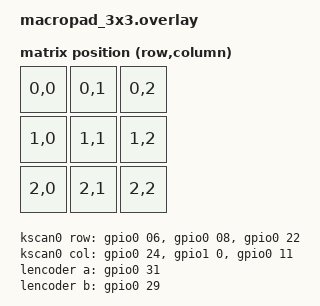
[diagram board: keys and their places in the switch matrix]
#include <dt-bindings/zmk/matrix_transform.h>

/ {
    chosen {
        zmk,kscan = &kscan0;
        zmk,physical-layout = &physical_layout0;
        zephyr,display = &oled_128x64;
    };

    kscan0: kscan0 {
        compatible = "zmk,kscan-gpio-matrix";
        diode-direction = "col2row";
        label = "default_kscan";
        wakeup-source;

        col-gpios = <
            &gpio0 24 GPIO_ACTIVE_HIGH  /* P0.24 (D5) */
            &gpio1 0  GPIO_ACTIVE_HIGH  /* P1.00 (D6) */
            &gpio0 11 GPIO_ACTIVE_HIGH  /* P0.11 (D7) */
        >;

        row-gpios = <
            &gpio0 06 (GPIO_ACTIVE_HIGH | GPIO_PULL_DOWN)  /* P0.17 (D2) */
            &gpio0 08 (GPIO_ACTIVE_HIGH | GPIO_PULL_DOWN)  /* P0.20 (D3) */
            &gpio0 22 (GPIO_ACTIVE_HIGH | GPIO_PULL_DOWN)  /* P0.22 (D4) */
        >;
    };

    default_transform: keymap_transform0 {
        compatible = "zmk,matrix-transform";
        columns = <3>;
        rows = <3>;
        map = <
            RC(0,0) RC(0,1) RC(0,2)
            RC(1,0) RC(1,1) RC(1,2)
            RC(2,0) RC(2,1) RC(2,2)
        >;
    };

    physical_layout0: physical_layout_0 {
        compatible = "zmk,physical-layout";
        display-name = "Default Layout";
        kscan = <&kscan0>;
        transform = <&default_transform>;
    };

    lencoder: lencoder {
        compatible = "alps,ec11";
        a-gpios = <&gpio0 31 (GPIO_ACTIVE_HIGH | GPIO_PULL_UP)>;  /* P0.31 (D21) */
        b-gpios = <&gpio0 29 (GPIO_ACTIVE_HIGH | GPIO_PULL_UP)>;  /* P0.29 (D20) */
        steps = <80>;
        status = "okay";
    };

    sensors: sensors {
        compatible = "zmk,keymap-sensors";
        sensors = <&lencoder>;
        triggers-per-rotation = <20>;
    };

    &pro_micro_i2c {
        status = "okay";

        oled: ssd1306@3c {
            compatible = "solomon,ssd1306fb";
            reg = <0x3c>;
            label = "DISPLAY";
            width = <128>;
            height = <64>;
            segment-offset = <0>;
            page-offset = <0>;
            display-offset = <0>;
            multiplex-ratio = <31>;
            segment-remap;
            com-invdir;
            com-sequential;
            prechargep = <0x22>;
        };
    };
};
